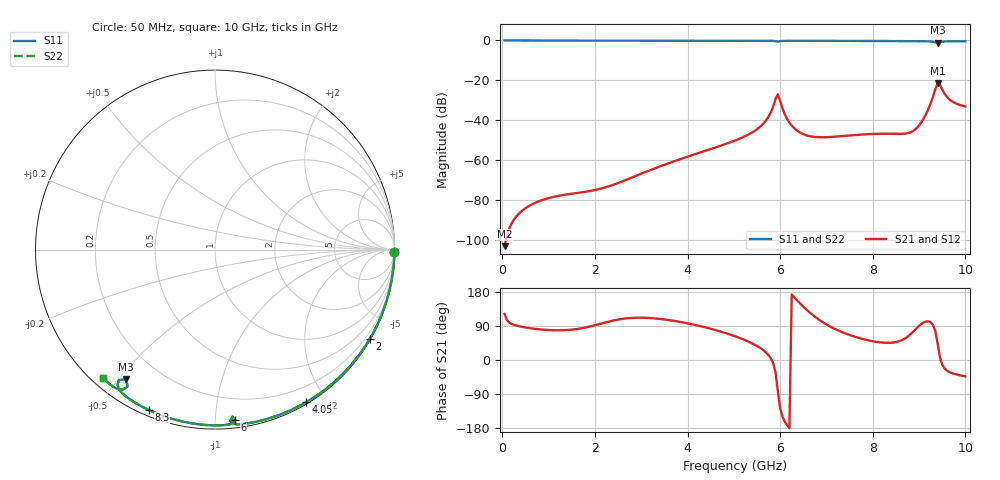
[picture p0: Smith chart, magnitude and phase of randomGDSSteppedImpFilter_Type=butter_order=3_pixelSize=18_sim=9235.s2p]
! freq	dB(S11)	phase(S11)	dB(S12)	phase(S12)
!  dB(S21)	phase(S21)	dB(S22)	phase(S22)
!S-par simulation data
#  GHz  S  DB  R 50
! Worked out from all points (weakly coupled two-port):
!   200 points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, 50 MHz to 10 GHz, reference 50 ohm
!   highest |S21| = -21.49 dB at 9.4 GHz (marker M1); lowest = -102.9 dB at 50 MHz (marker M2)
!   lowest |S11| = -1.2 dB at 9.4 GHz (marker M3), VSWR 15.00, Z = 4.25 - j26.2 ohm
!   |S11| at or under -10 dB: nowhere
!   |S22| runs from -1.2 to 0.0 dB; largest |S21 - S12| = 0
!   S11 on the Smith chart (normalised r, x): 50 MHz: open; 2 GHz: 0.03, -3.74; 4.05 GHz: 0.02, -1.77; 6 GHz: 0.05, -1.12; 8.3 GHz: 0.02, -0.67; 10 GHz: 0.03, -0.45
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0.05  -0.00 -0.8  -102.94 121.6  -102.94 121.6  -0.00 -0.8
0.85  -0.02 -12.9  -79.96 80.4  -79.96 80.4  -0.02 -12.9
1.75  -0.03 -26.3  -75.89 84.7  -75.89 84.7  -0.03 -26.3
2  -0.04 -30.0  -74.86 91.8  -74.86 91.8  -0.04 -30.0
3.4  -0.07 -50.1  -63.06 108.5  -63.06 108.5  -0.07 -50.0
4.05  -0.08 -59.1  -57.76 95.5  -57.76 95.5  -0.08 -59.1
5.05  -0.11 -72.5  -49.86 61.7  -49.86 61.7  -0.11 -72.5
5.65  -0.14 -80.6  -41.29 24.6  -41.29 24.6  -0.14 -80.6
5.8  -0.17 -83.0  -35.94 4.5  -35.94 4.5  -0.17 -83.0
5.95  -0.58 -84.1  -27.02 -81.9  -27.02 -81.9  -0.58 -84.0
6  -0.38 -83.3  -30.20 -127.5  -30.20 -127.5  -0.38 -83.3
6.1  -0.21 -85.0  -37.01 -162.4  -37.01 -162.4  -0.21 -85.0
6.25  -0.18 -87.3  -42.59 172.9  -42.59 172.9  -0.18 -87.3
6.7  -0.19 -93.1  -48.15 119.1  -48.15 119.1  -0.19 -93.1
8.3  -0.29 -112.5  -46.66 45.4  -46.66 45.4  -0.29 -112.5
8.35  -0.30 -113.1  -46.67 45.4  -46.67 45.4  -0.30 -113.1
8.75  -0.34 -117.9  -46.42 61.3  -46.42 61.3  -0.34 -117.9
8.95  -0.37 -120.4  -43.86 84.3  -43.86 84.3  -0.37 -120.4
9.15  -0.43 -123.2  -36.90 101.5  -36.90 101.5  -0.43 -123.2
9.4  -1.16 -124.5  -21.49 44.1  -21.49 44.1  -1.15 -124.5
9.65  -0.44 -126.4  -29.37 -31.5  -29.37 -31.5  -0.44 -126.4
10  -0.45 -131.1  -33.03 -43.4  -33.03 -43.4  -0.45 -131.1
